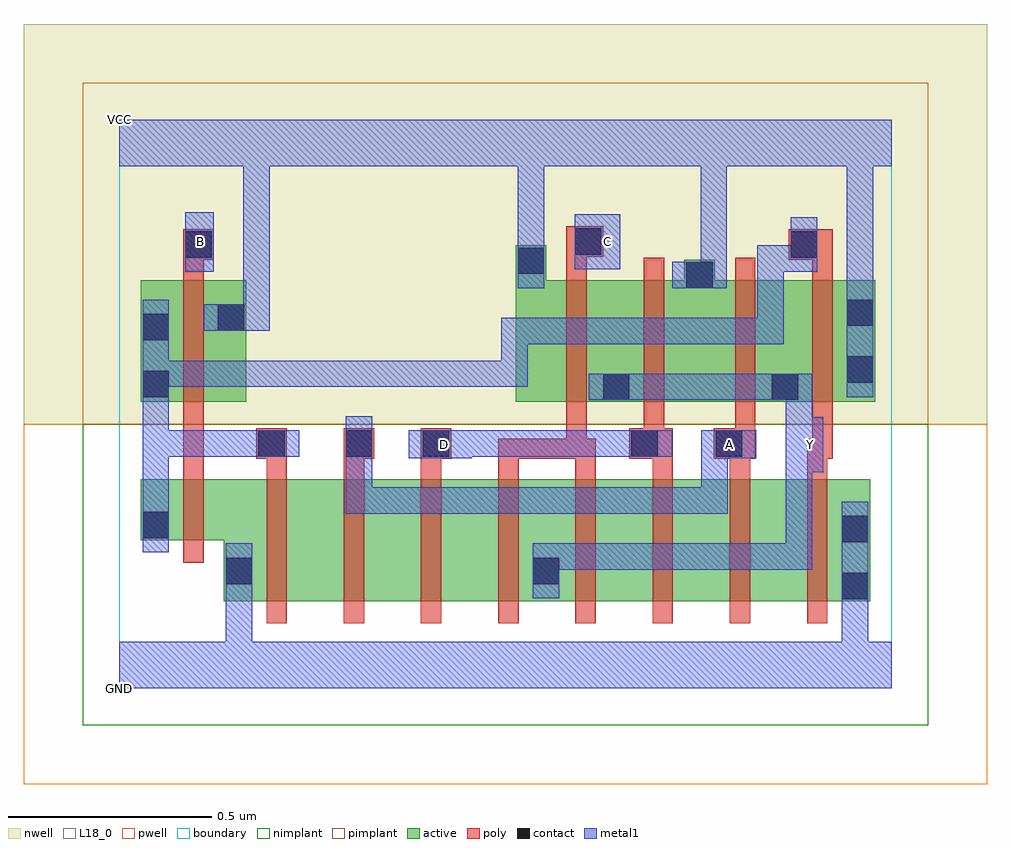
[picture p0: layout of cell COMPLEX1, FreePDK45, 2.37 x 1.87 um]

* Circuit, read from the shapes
.subckt COMPLEX1 A B C D GND VCC Y
M1 GND B n1 VSUBS nfet w=0.15u l=0.05u
M2 n2 n1 GND VSUBS nfet w=0.3u l=0.05u
M3 n3 A n2 VSUBS nfet w=0.3u l=0.05u
M4 n4 D n3 VSUBS nfet w=0.3u l=0.05u
M5 Y C n4 VSUBS nfet w=0.3u l=0.05u
M6 n5 C Y VSUBS nfet w=0.3u l=0.05u
M7 n6 D n5 VSUBS nfet w=0.3u l=0.05u
M8 n7 A n6 VSUBS nfet w=0.3u l=0.05u
M9 GND n1 n7 VSUBS nfet w=0.3u l=0.05u
M10 VCC B n1 n8 pfet w=0.3u l=0.05u
M11 Y C VCC n8 pfet w=0.3u l=0.05u
M12 VCC D Y n8 pfet w=0.3u l=0.05u
M13 Y A VCC n8 pfet w=0.3u l=0.05u
M14 VCC n1 Y n8 pfet w=0.3u l=0.05u
.ends

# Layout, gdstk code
import gdstk
lib = gdstk.Library(unit=1e-6, precision=1e-09)
def R(c, l, rs):  # rectangles x0, y0, x1, y1
    for r in rs: c.add(gdstk.rectangle(r[:2], r[2:], *l))
def A(c, l, x, y, w, h, nx, ny, dx, dy):  # array of equal rectangles
    R(c, l, [(x+i*dx, y+j*dy, x+i*dx+w, y+j*dy+h) for i in range(nx) for j in range(ny)])
active = (1, 0)
pwell = (2, 0)
nwell = (3, 0)
nimplant = (4, 0)
pimplant = (5, 0)
poly = (9, 0)
contact = (10, 0)
metal1 = (11, 0)
L18_0 = (18, 0)
boundary = (235, 0)

complex1 = lib.new_cell('COMPLEX1')
R(complex1, active, [(0.257,0.215,0.332,0.515), (0.257,0.215,0.482,0.515), (0.482,0.215,0.672,0.515), (0.672,0.215,0.862,0.515), (0.862,0.215,1.087,0.515), (1.012,0.215,1.242,0.515), (1.242,0.215,1.432,0.515), (1.432,0.215,1.622,0.515), (1.622,0.215,1.847,0.515), (1.772,0.215,1.847,0.515), (1.012,0.237,1.087,0.392), (0.052,0.365,0.332,0.515), (0.052,0.365,0.127,0.515), (0.052,0.705,0.127,1.005), (0.052,0.705,0.312,1.005), (0.237,0.705,0.312,1.005), (0.975,0.705,1.26,1.005), (1.185,0.705,1.465,1.005), (1.185,0.705,1.26,0.877), (1.39,0.705,1.675,1.005), (1.6,0.705,1.675,1.005), (1.6,0.705,1.86,1.005), (1.785,0.705,1.86,1.005), (0.975,0.74,1.05,1.09), (1.39,0.895,1.465,1.055)])
R(complex1, pwell, [(-0.235,-0.235,2.135,0.65)])
R(complex1, nwell, [(-0.235,0.65,2.135,1.635)])
R(complex1, nimplant, [(-0.09,-0.09,1.99,0.65)])
R(complex1, pimplant, [(-0.09,0.65,1.99,1.49)])
A(complex1, poly, 0.362, 0.16, 0.05, 0.41, 8, 1, 0.19, 0)
A(complex1, poly, 0.362, 0.52, 0.05, 0.095, 8, 1, 0.19, 0)
R(complex1, poly, [(0.157,0.31,0.207,0.57), (0.157,0.52,0.207,0.655), (0.337,0.565,0.412,0.64), (0.552,0.565,0.627,0.64), (0.742,0.565,0.817,0.64), (0.932,0.565,1.15,0.615), (0.932,0.565,0.982,0.615), (0.932,0.565,0.982,0.615), (0.932,0.565,0.982,0.615), (1.1,0.565,1.15,0.7), (1.1,0.565,1.172,0.615), (1.255,0.565,1.362,0.64), (1.462,0.565,1.565,0.64), (1.692,0.565,1.755,0.615), (1.705,0.565,1.755,0.7), (1.29,0.59,1.34,0.7), (1.515,0.59,1.565,0.7), (0.157,0.605,0.207,0.7), (0.157,0.605,0.207,0.655), (0.157,0.65,0.207,1.06), (1.1,0.65,1.15,1.06), (1.29,0.65,1.34,1.06), (1.515,0.65,1.565,1.06), (1.705,0.65,1.755,1.06), (0.157,1.01,0.207,1.105), (1.1,1.01,1.15,1.112), (1.705,1.01,1.755,1.105), (0.157,1.055,0.232,1.13), (1.647,1.055,1.755,1.13), (1.1,1.062,1.19,1.137)])
R(complex1, contact, [(1.777,0.22,1.842,0.285), (0.262,0.257,0.327,0.322), (1.017,0.257,1.082,0.322), (1.777,0.36,1.842,0.425), (0.057,0.37,0.122,0.435), (0.342,0.57,0.407,0.635), (0.557,0.57,0.622,0.635), (0.747,0.57,0.812,0.635), (1.26,0.57,1.325,0.635), (1.467,0.57,1.532,0.635), (1.19,0.71,1.255,0.775), (1.605,0.71,1.67,0.775), (0.057,0.717,0.122,0.782), (1.79,0.752,1.855,0.817), (0.057,0.857,0.122,0.922), (0.242,0.88,0.307,0.945), (1.79,0.892,1.855,0.957), (1.395,0.985,1.46,1.05), (0.98,1.02,1.045,1.085), (0.162,1.06,0.227,1.125), (1.652,1.06,1.717,1.125), (1.12,1.067,1.185,1.132)])
R(complex1, metal1, [(0,0,1.9,0.115), (0.262,0.05,0.327,0.287), (1.777,0.05,1.842,0.25), (1.777,0.185,1.842,0.25), (1.777,0.185,1.842,0.25), (1.777,0.185,1.842,0.46), (0.262,0.222,0.327,0.287), (0.262,0.222,0.327,0.287), (0.262,0.222,0.327,0.357), (1.017,0.222,1.082,0.357), (1.017,0.292,1.142,0.357), (1.077,0.292,1.142,0.357), (1.077,0.292,1.287,0.357), (1.222,0.292,1.287,0.357), (1.222,0.292,1.287,0.357), (1.222,0.292,1.287,0.357), (1.222,0.292,1.497,0.357), (1.432,0.292,1.497,0.357), (1.432,0.292,1.497,0.357), (1.432,0.292,1.497,0.357), (1.432,0.292,1.705,0.357), (1.64,0.292,1.705,0.357), (1.64,0.292,1.705,0.597), (0.057,0.335,0.122,0.47), (0.057,0.405,0.122,0.635), (0.557,0.43,0.622,0.495), (0.557,0.43,0.622,0.6), (0.557,0.43,0.867,0.495), (0.802,0.43,0.867,0.495), (0.802,0.43,0.867,0.495), (0.802,0.43,0.867,0.495), (0.802,0.43,1.005,0.495), (0.94,0.43,1.005,0.495), (0.94,0.43,1.005,0.495), (0.94,0.43,1.005,0.495), (0.94,0.43,1.142,0.495), (1.077,0.43,1.142,0.495), (1.077,0.43,1.287,0.495), (1.222,0.43,1.287,0.495), (1.222,0.43,1.287,0.495), (1.222,0.43,1.287,0.495), (1.222,0.43,1.497,0.495), (1.432,0.43,1.497,0.495), (1.432,0.43,1.497,0.632), (1.64,0.532,1.705,0.597), (1.64,0.532,1.705,0.597), (1.64,0.532,1.732,0.667), (0.557,0.535,0.622,0.6), (0.557,0.535,0.622,0.6), (0.557,0.535,0.622,0.67), (0.712,0.567,0.867,0.635), (1.432,0.567,1.497,0.632), (1.432,0.567,1.497,0.632), (1.432,0.567,1.567,0.635), (0.057,0.57,0.122,0.635), (0.057,0.57,0.122,0.635), (0.057,0.57,0.122,0.635), (0.057,0.57,0.26,0.635), (0.057,0.57,0.122,0.747), (0.195,0.57,0.26,0.635), (0.195,0.57,0.372,0.635), (0.307,0.57,0.442,0.635), (0.802,0.57,0.867,0.635), (0.802,0.57,0.867,0.635), (0.802,0.57,1.005,0.635), (0.94,0.57,1.005,0.635), (0.94,0.57,1.005,0.635), (0.94,0.57,1.005,0.635), (0.94,0.57,1.142,0.635), (1.077,0.57,1.142,0.635), (1.077,0.57,1.22,0.635), (1.155,0.57,1.22,0.635), (1.155,0.57,1.29,0.635), (1.225,0.57,1.36,0.635), (1.64,0.602,1.705,0.775), (0.057,0.682,0.122,0.957), (1.155,0.71,1.29,0.775), (1.225,0.71,1.29,0.775), (1.225,0.71,1.29,0.775), (1.225,0.71,1.497,0.775), (1.432,0.71,1.497,0.775), (1.432,0.71,1.497,0.775), (1.432,0.71,1.497,0.775), (1.432,0.71,1.635,0.775), (1.57,0.71,1.705,0.775), (1.79,0.717,1.855,0.992), (0.057,0.742,0.122,0.807), (0.057,0.742,0.122,0.807), (0.057,0.742,0.26,0.807), (0.195,0.742,0.26,0.807), (0.195,0.742,0.397,0.807), (0.332,0.742,0.397,0.807), (0.332,0.742,0.397,0.807), (0.332,0.742,0.397,0.807), (0.332,0.742,0.64,0.807), (0.575,0.742,0.64,0.807), (0.575,0.742,0.64,0.807), (0.575,0.742,0.64,0.807), (0.575,0.742,0.867,0.807), (0.802,0.742,0.867,0.807), (0.802,0.742,0.867,0.807), (0.802,0.742,0.867,0.807), (0.802,0.742,1.005,0.807), (0.94,0.742,1.005,0.807), (0.94,0.742,1.005,0.807), (0.94,0.742,1.005,0.807), (0.94,0.742,1.005,0.912), (0.94,0.847,1.005,0.912), (0.94,0.847,1.15,0.912), (1.085,0.847,1.15,0.912), (1.085,0.847,1.287,0.912), (1.222,0.847,1.287,0.912), (1.222,0.847,1.287,0.912), (1.222,0.847,1.287,0.912), (1.222,0.847,1.497,0.912), (1.432,0.847,1.497,0.912), (1.432,0.847,1.497,0.912), (1.432,0.847,1.497,0.912), (1.432,0.847,1.635,0.912), (1.57,0.847,1.635,0.912), (1.57,0.847,1.635,1.09), (0.207,0.88,0.37,0.945), (0.305,0.88,0.37,1.35), (1.79,0.927,1.855,0.992), (1.79,0.927,1.855,0.992), (1.79,0.927,1.855,0.992), (1.79,0.927,1.855,0.992), (1.79,0.927,1.855,1.35), (0.98,0.985,1.045,1.12), (1.36,0.985,1.495,1.05), (1.43,0.985,1.495,1.35), (0.162,1.025,0.232,1.172), (1.57,1.025,1.635,1.09), (1.57,1.025,1.635,1.09), (1.57,1.025,1.635,1.09), (1.57,1.025,1.717,1.09), (1.652,1.025,1.717,1.16), (1.12,1.032,1.232,1.167), (0.98,1.055,1.045,1.12), (0.98,1.055,1.045,1.12), (0.98,1.055,1.045,1.35), (0,1.285,1.9,1.4), (0.305,1.285,0.37,1.35), (0.305,1.285,0.37,1.35), (0.305,1.285,0.37,1.35), (0.305,1.285,0.37,1.35), (0.98,1.285,1.045,1.35), (0.98,1.285,1.045,1.35), (1.43,1.285,1.495,1.35), (1.43,1.285,1.495,1.35), (1.43,1.285,1.495,1.35), (1.43,1.285,1.495,1.35)])
R(complex1, L18_0, [(0,0,1.9,0.115), (0.262,0.05,0.327,0.287), (1.777,0.05,1.842,0.25), (1.777,0.185,1.842,0.25), (1.777,0.185,1.842,0.25), (1.777,0.185,1.842,0.46), (0.262,0.222,0.327,0.287), (0.262,0.222,0.327,0.287), (0.262,0.222,0.327,0.357), (1.017,0.222,1.082,0.357), (1.017,0.292,1.142,0.357), (1.077,0.292,1.142,0.357), (1.077,0.292,1.287,0.357), (1.222,0.292,1.287,0.357), (1.222,0.292,1.287,0.357), (1.222,0.292,1.287,0.357), (1.222,0.292,1.497,0.357), (1.432,0.292,1.497,0.357), (1.432,0.292,1.497,0.357), (1.432,0.292,1.497,0.357), (1.432,0.292,1.705,0.357), (1.64,0.292,1.705,0.357), (1.64,0.292,1.705,0.597), (0.557,0.43,0.622,0.495), (0.557,0.43,0.622,0.6), (0.557,0.43,0.867,0.495), (0.802,0.43,0.867,0.495), (0.802,0.43,0.867,0.495), (0.802,0.43,0.867,0.495), (0.802,0.43,1.005,0.495), (0.94,0.43,1.005,0.495), (0.94,0.43,1.005,0.495), (0.94,0.43,1.005,0.495), (0.94,0.43,1.142,0.495), (1.077,0.43,1.142,0.495), (1.077,0.43,1.287,0.495), (1.222,0.43,1.287,0.495), (1.222,0.43,1.287,0.495), (1.222,0.43,1.287,0.495), (1.222,0.43,1.497,0.495), (1.432,0.43,1.497,0.495), (1.432,0.43,1.497,0.632), (1.64,0.532,1.705,0.597), (1.64,0.532,1.705,0.597), (1.64,0.532,1.732,0.667), (0.557,0.535,0.622,0.6), (0.557,0.535,0.622,0.6), (0.557,0.535,0.622,0.67), (0.712,0.567,0.867,0.635), (0.767,0.567,0.832,0.632), (1.432,0.567,1.497,0.632), (1.432,0.567,1.497,0.632), (1.432,0.567,1.567,0.635), (1.467,0.567,1.532,0.632), (1.667,0.567,1.732,0.632), (0.802,0.57,0.867,0.635), (0.802,0.57,0.867,0.635), (0.802,0.57,1.005,0.635), (0.94,0.57,1.005,0.635), (0.94,0.57,1.005,0.635), (0.94,0.57,1.005,0.635), (0.94,0.57,1.142,0.635), (1.077,0.57,1.142,0.635), (1.077,0.57,1.22,0.635), (1.155,0.57,1.22,0.635), (1.155,0.57,1.29,0.635), (1.225,0.57,1.36,0.635), (1.64,0.602,1.705,0.775), (1.155,0.71,1.29,0.775), (1.225,0.71,1.29,0.775), (1.225,0.71,1.29,0.775), (1.225,0.71,1.497,0.775), (1.432,0.71,1.497,0.775), (1.432,0.71,1.497,0.775), (1.432,0.71,1.497,0.775), (1.432,0.71,1.635,0.775), (1.57,0.71,1.705,0.775), (1.79,0.717,1.855,0.992), (0.207,0.88,0.37,0.945), (0.305,0.88,0.37,1.35), (1.79,0.927,1.855,0.992), (1.79,0.927,1.855,0.992), (1.79,0.927,1.855,0.992), (1.79,0.927,1.855,0.992), (1.79,0.927,1.855,1.35), (0.98,0.985,1.045,1.12), (1.36,0.985,1.495,1.05), (1.43,0.985,1.495,1.35), (0.162,1.025,0.232,1.172), (1.12,1.032,1.232,1.167), (0.98,1.055,1.045,1.12), (0.98,1.055,1.045,1.12), (0.98,1.055,1.045,1.35), (0.167,1.067,0.232,1.132), (1.167,1.067,1.232,1.132), (0,1.285,1.9,1.4), (0.305,1.285,0.37,1.35), (0.305,1.285,0.37,1.35), (0.305,1.285,0.37,1.35), (0.305,1.285,0.37,1.35), (0.98,1.285,1.045,1.35), (0.98,1.285,1.045,1.35), (1.43,1.285,1.495,1.35), (1.43,1.285,1.495,1.35), (1.43,1.285,1.495,1.35), (1.43,1.285,1.495,1.35)])
R(complex1, boundary, [(0,0,1.9,1.4)])
complex1.add(gdstk.Label('A', (1.5,0.6), layer=11, texttype=0))
complex1.add(gdstk.Label('B', (0.2,1.1), layer=11, texttype=0))
complex1.add(gdstk.Label('C', (1.2,1.1), layer=11, texttype=0))
complex1.add(gdstk.Label('D', (0.8,0.6), layer=11, texttype=0))
complex1.add(gdstk.Label('Y', (1.7,0.6), layer=11, texttype=0))
complex1.add(gdstk.Label('VCC', (0,1.4), layer=11, texttype=0))
complex1.add(gdstk.Label('GND', (0,0), layer=11, texttype=0))

lib.write_gds('COMPLEX1.gds')
